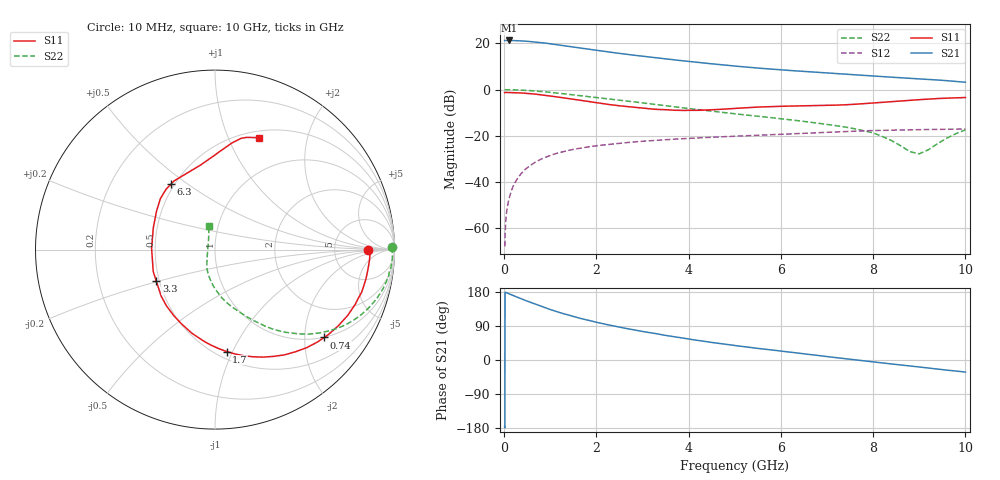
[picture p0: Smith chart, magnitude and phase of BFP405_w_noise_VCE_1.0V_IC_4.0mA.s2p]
! (c) 2016  Infineon Technologies AG, Munich
! Infineon Technologies  Discrete & RF Semiconductors
! BFP405
! VCE =  1.0 V,  IC =  4.0 mA
! Common Emitter S-Parameters:  Jan 2016
# GHz  S  MA  R  50
!  f  S11  S21  S12  S22
! GHz  MAG  ANG  MAG  ANG  MAG  ANG  MAG  ANG
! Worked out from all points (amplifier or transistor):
!   233 points, 10 MHz to 10 GHz, reference 50 ohm
!   highest |S21| = 21.3 dB at 100 MHz (marker M1)
!   |S21| within 3 dB of that: start of sweep to 1.565 GHz
!   unconditionally stable (mu >= 1): start of sweep to 15.85 MHz; 3.539 GHz to end of sweep
!   at 200 MHz: K = 0.07, MSG = 31.5 dB, |S12| = -41.7 dB
!   at 1.74 GHz: K = 0.51, MSG = 21.4 dB, |S12| = -25.1 dB
!   at 10 GHz: K = 1.53, MAG = 5.9 dB, |S12| = -17.2 dB
!   lowest NFmin = 1.10 dB at 900 MHz
!   S11 on the Smith chart (normalised r, x): 10 MHz: 13, +0; 740 MHz: 0.99, -2.49; 1.7 GHz: 0.56, -0.95; 3.3 GHz: 0.48, -0.20; 6.3 GHz: 0.48, +0.43; 10 GHz: 0.57, +1.30
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0.01  0.8551 0.0  11.57 -177.0  0.0004 -11.5  0.9869 0.7
0.02  0.865 -1.0  11.55 178.7  0.0007 85.2  0.9878 -0.3
0.045  0.8638 -2.7  11.51 178.0  0.0019 91.1  0.9889 -1.1
0.1  0.8614 -5.3  11.58 174.8  0.004 86.7  0.9896 -2.7
0.26  0.8531 -13.9  11.52 167.0  0.0105 82.9  0.9784 -7.6
0.4  0.8384 -21.4  11.3 160.1  0.0162 79.2  0.9671 -11.5
0.74  0.7806 -38.8  10.53 144.4  0.0288 70.0  0.9168 -20.6
0.9  0.7486 -46.8  10.13 137.3  0.0341 66.3  0.8872 -24.6
1.16  0.6883 -59.2  9.363 126.9  0.0418 60.6  0.8346 -30.3
1.68  0.5753 -82.6  7.891 108.9  0.0542 51.2  0.7288 -39.9
1.7  0.5716 -83.5  7.838 108.3  0.0546 50.9  0.7249 -40.2
2  0.5155 -96.6  7.095 99.5  0.0603 46.5  0.6694 -44.6
2.42  0.4531 -114.6  6.217 88.6  0.0671 41.5  0.5992 -50.0
3.3  0.3713 -151.6  4.855 69.4  0.0791 32.8  0.4719 -59.6
3.4  0.3672 -156.0  4.731 67.2  0.0803 31.9  0.4585 -60.7
4  0.3533 178.7  4.067 55.1  0.0872 27.0  0.3869 -67.3
5.1  0.394 144.7  3.16 36.7  0.098 19.1  0.2901 -79.3
6.3  0.4394 124.0  2.545 19.3  0.1099 11.8  0.2148 -90.4
6.8  0.4479 114.9  2.351 12.1  0.1155 8.5  0.1862 -95.6
8.4  0.5468 87.3  1.848 -10.5  0.1312 -4.2  0.0779 -125.2
9  0.6022 80.9  1.701 -18.4  0.1348 -8.7  0.0402 168.9
10  0.6695 68.6  1.437 -31.9  0.1388 -15.3  0.1337 105.0
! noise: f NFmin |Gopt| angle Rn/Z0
0.9  1.1  0.42  13  0.34
1.8  1.39  0.33  21  0.32
2.4  1.55  0.28  31  0.32
3  1.58  0.26  47  0.29
4  1.76  0.14  70  0.25
5  2.11  0.09  124  0.22
